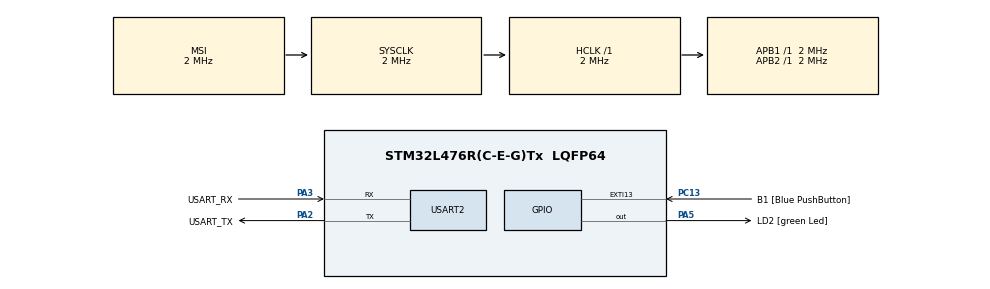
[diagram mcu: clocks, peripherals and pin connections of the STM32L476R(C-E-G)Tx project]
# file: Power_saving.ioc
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Mcu.Family=STM32L4
Mcu.Name=STM32L476R(C-E-G)Tx
Mcu.Package=LQFP64
NVIC.PriorityGroup=NVIC_PRIORITYGROUP_4
PA13\ (JTMS-SWDIO).GPIO_Label=TMS
PA13\ (JTMS-SWDIO).Mode=Serial_Wire
PA13\ (JTMS-SWDIO).Signal=SYS_JTMS-SWDIO
PA14\ (JTCK-SWCLK).GPIO_Label=TCK
PA14\ (JTCK-SWCLK).Mode=Serial_Wire
PA14\ (JTCK-SWCLK).Signal=SYS_JTCK-SWCLK
PA2.GPIO_Label=USART_TX
PA2.GPIO_Mode=GPIO_MODE_AF_PP
PA2.GPIO_PuPd=GPIO_NOPULL
PA2.GPIO_Speed=GPIO_SPEED_FREQ_VERY_HIGH
PA2.Mode=Asynchronous
PA2.Signal=USART2_TX
PA3.GPIO_Label=USART_RX
PA3.GPIO_Mode=GPIO_MODE_AF_PP
PA3.GPIO_PuPd=GPIO_NOPULL
PA3.GPIO_Speed=GPIO_SPEED_FREQ_VERY_HIGH
PA3.Mode=Asynchronous
PA3.Signal=USART2_RX
PA5.GPIO_Label=LD2 [green Led]
PA5.GPIO_ModeDefaultOutputPP=GPIO_MODE_OUTPUT_PP
PA5.GPIO_PuPd=GPIO_NOPULL
PA5.GPIO_Speed=GPIO_SPEED_FREQ_LOW
PA5.Signal=GPIO_Output
PB3\ (JTDO-TRACESWO).GPIO_Label=SWO
PB3\ (JTDO-TRACESWO).Signal=SYS_JTDO-SWO
PC13.GPIO_Label=B1 [Blue PushButton]
PC13.GPIO_ModeDefaultEXTI=GPIO_MODE_IT_FALLING
PC13.GPIO_PuPd=GPIO_NOPULL
PC13.Signal=GPXTI13
PC14-OSC32_IN\ (PC14).Mode=LSE-External-Oscillator
PC14-OSC32_IN\ (PC14).Signal=RCC_OSC32_IN
PC15-OSC32_OUT\ (PC15).Mode=LSE-External-Oscillator
PC15-OSC32_OUT\ (PC15).Signal=RCC_OSC32_OUT
PH0-OSC_IN\ (PH0).Signal=RCC_OSC_IN
PH1-OSC_OUT\ (PH1).Signal=RCC_OSC_OUT
ProjectManager.HeapSize=0x200
ProjectManager.StackSize=0x400
ProjectManager.TargetToolchain=STM32CubeIDE
RCC.ADCFreq_Value=64000000
RCC.AHBFreq_Value=2000000
RCC.APB1Freq_Value=2000000
RCC.APB1TimFreq_Value=2000000
RCC.APB2Freq_Value=2000000
RCC.APB2TimFreq_Value=2000000
RCC.CortexFreq_Value=2000000
RCC.HCLKFreq_Value=2000000
RCC.HSE_VALUE=8000000
RCC.HSI_VALUE=16000000
RCC.MSIClockRange=RCC_MSIRANGE_5
RCC.MSI_VALUE=2000000
RCC.PLLN=10
RCC.PLLSourceVirtual=RCC_PLLSOURCE_HSI
RCC.PREFETCH_ENABLE=1
RCC.SYSCLKFreq_VALUE=2000000
RCC.USBFreq_Value=64000000
RCC.VCOOutputFreq_Value=160000000
USART2.VirtualMode-Asynchronous=VM_ASYNC
board=NUCLEO-L476RG

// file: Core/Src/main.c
/* USER CODE BEGIN Header */
/**
  ******************************************************************************
  * @file           : main.c
  * @brief          : Main program body
  ******************************************************************************
  * @attention
  *
  * Copyright (c) 2024 STMicroelectronics.
  * All rights reserved.
  *
  * This software is licensed under terms that can be found in the LICENSE file
  * in the root directory of this software component.
  * If no LICENSE file comes with this software, it is provided AS-IS.
  *
  ******************************************************************************
  */
/* USER CODE END Header */
#include "main.h"
#include "usart.h"
#include "gpio.h"

void SystemClock_Config(void);

/* USER CODE BEGIN 0 */

void Disable_Peripherals(void) {
    // Désactiver les horloges des GPIO non utilisés
    __HAL_RCC_GPIOA_CLK_DISABLE();
    __HAL_RCC_GPIOB_CLK_DISABLE();
    __HAL_RCC_GPIOC_CLK_DISABLE();
    __HAL_RCC_GPIOD_CLK_DISABLE();
    __HAL_RCC_GPIOE_CLK_DISABLE();
    __HAL_RCC_GPIOF_CLK_DISABLE();
    __HAL_RCC_GPIOG_CLK_DISABLE();
    __HAL_RCC_GPIOH_CLK_DISABLE();

    // Désactiver les horloges des périphériques non utilisés
    __HAL_RCC_ADC_CLK_DISABLE();
    __HAL_RCC_DAC1_CLK_DISABLE();
    __HAL_RCC_I2C1_CLK_DISABLE();
    __HAL_RCC_I2C2_CLK_DISABLE();
    __HAL_RCC_SPI1_CLK_DISABLE();
    __HAL_RCC_SPI2_CLK_DISABLE();
    __HAL_RCC_USART1_CLK_DISABLE();
    __HAL_RCC_USART2_CLK_DISABLE();
    __HAL_RCC_USART3_CLK_DISABLE();
    __HAL_RCC_UART4_CLK_DISABLE();
    __HAL_RCC_UART5_CLK_DISABLE();

    // Désactiver d'autres périphériques non utilisés
    __HAL_RCC_RTC_DISABLE();
    __HAL_RCC_TIM1_CLK_DISABLE();
    __HAL_RCC_TIM2_CLK_DISABLE();
    __HAL_RCC_TIM3_CLK_DISABLE();
    __HAL_RCC_TIM4_CLK_DISABLE();
    __HAL_RCC_TIM5_CLK_DISABLE();
    __HAL_RCC_TIM6_CLK_DISABLE();
    __HAL_RCC_TIM7_CLK_DISABLE();
    __HAL_RCC_TIM8_CLK_DISABLE();

    // Si vous avez d'autres périphériques actifs, désactivez-les également
}

// Fonction pour configurer les GPIO inutilisés
void Configure_Unused_GPIO(void) {
    GPIO_InitTypeDef GPIO_InitStruct = {0};

    // Désactiver toutes les horloges GPIO pour configuration
    __HAL_RCC_GPIOA_CLK_ENABLE();
    __HAL_RCC_GPIOB_CLK_ENABLE();
    __HAL_RCC_GPIOC_CLK_ENABLE();
    __HAL_RCC_GPIOD_CLK_ENABLE();
    __HAL_RCC_GPIOE_CLK_ENABLE();
    __HAL_RCC_GPIOF_CLK_ENABLE();
    __HAL_RCC_GPIOG_CLK_ENABLE();
    __HAL_RCC_GPIOH_CLK_ENABLE();

    // Configuration en mode analogique pour tous les GPIO inutilisés
    GPIO_InitStruct.Mode = GPIO_MODE_ANALOG;
    GPIO_InitStruct.Pull = GPIO_NOPULL;
    GPIO_InitStruct.Speed = GPIO_SPEED_FREQ_LOW;

    // Configuration des ports GPIOA
    GPIO_InitStruct.Pin = GPIO_PIN_All;
    HAL_GPIO_Init(GPIOA, &GPIO_InitStruct);
    __HAL_RCC_GPIOA_CLK_DISABLE();

    // Répétez pour les autres ports GPIO
    GPIO_InitStruct.Pin = GPIO_PIN_All;
    HAL_GPIO_Init(GPIOB, &GPIO_InitStruct);
    __HAL_RCC_GPIOB_CLK_DISABLE();

    GPIO_InitStruct.Pin = GPIO_PIN_All;
    HAL_GPIO_Init(GPIOC, &GPIO_InitStruct);
    __HAL_RCC_GPIOC_CLK_DISABLE();

    GPIO_InitStruct.Pin = GPIO_PIN_All;
    HAL_GPIO_Init(GPIOD, &GPIO_InitStruct);
    __HAL_RCC_GPIOD_CLK_DISABLE();

    GPIO_InitStruct.Pin = GPIO_PIN_All;
    HAL_GPIO_Init(GPIOE, &GPIO_InitStruct);
    __HAL_RCC_GPIOE_CLK_DISABLE();

    GPIO_InitStruct.Pin = GPIO_PIN_All;
    HAL_GPIO_Init(GPIOF, &GPIO_InitStruct);
    __HAL_RCC_GPIOF_CLK_DISABLE();

    GPIO_InitStruct.Pin = GPIO_PIN_All;
    HAL_GPIO_Init(GPIOG, &GPIO_InitStruct);
    __HAL_RCC_GPIOG_CLK_DISABLE();

    GPIO_InitStruct.Pin = GPIO_PIN_All;
    HAL_GPIO_Init(GPIOH, &GPIO_InitStruct);
    __HAL_RCC_GPIOH_CLK_DISABLE();
}

void Enter_STOP2_Mode(void) {
    // Désactiver les périphériques non essentiels
    Disable_Peripherals();

    // Configurer les GPIO inutilisés en mode analogique pour éviter les courants de fuite
    GPIO_InitTypeDef GPIO_InitStruct = {0};
    GPIO_InitStruct.Mode = GPIO_MODE_ANALOG;
    GPIO_InitStruct.Pull = GPIO_NOPULL;

    // Configurer tous les ports GPIO (exemple pour GPIOA)
    __HAL_RCC_GPIOA_CLK_ENABLE(); // Activer l'horloge pour la configuration
    GPIO_InitStruct.Pin = GPIO_PIN_All;
    HAL_GPIO_Init(GPIOA, &GPIO_InitStruct);
    __HAL_RCC_GPIOA_CLK_DISABLE(); // Désactiver l'horloge après configuration

    // Répétez pour les autres ports GPIO utilisés

    // Configurer le mode STOP2
    HAL_PWREx_EnterSTOP2Mode(PWR_SLEEPENTRY_WFI);
}

/* USER CODE END 0 */

int main(void)
{

  /* MCU Configuration--------------------------------------------------------*/

  /* Reset of all peripherals, Initializes the Flash interface and the Systick. */
  HAL_Init();

  /* Configure the system clock */
  SystemClock_Config();

  /* Initialize all configured peripherals */
  MX_GPIO_Init();
  MX_USART2_UART_Init();
  /* USER CODE BEGIN 2 */

  //__HAL_PWR_CLEAR_FLAG(PWR_FLAG_WU);
  	  GPIO_InitTypeDef GPIO_Init = {0};
  	  GPIO_Init.Pin = GPIO_PIN_13;
  	  GPIO_Init.Mode= GPIO_MODE_EVT_FALLING;
  	  GPIO_Init.Pull = GPIO_NOPULL;
  	  HAL_GPIO_Init(GPIOC, &GPIO_Init);

  	  HAL_SuspendTick();
  	  HAL_PWR_EnterSLEEPMode(PWR_MAINREGULATOR_ON, PWR_SLEEPENTRY_WFE);

  	  HAL_ResumeTick();
  	  HAL_GPIO_DeInit(GPIOC, GPIO_PIN_13);
  /* USER CODE END 2 */

  /* Infinite loop */
  while (1)
  {

    /* USER CODE BEGIN 3 */

	  //HAL_PWR_EnterSTANDBYMode();

	  /*HAL_SuspendTick();
	  HAL_PWREx_EnterSTOP2Mode(PWR_SLEEPENTRY_WFI);
	  HAL_ResumeTick();*/
	  //HAL_SuspendTick();
	  //HAL_PWR_EnterSLEEPMode(PWR_MAINREGULATOR_ON, PWR_SLEEPENTRY_WFI);
	  //HAL_PWR_E
	  //HAL_ResumeTick();
	  //HAL_PWREx_EnableLowPowerRunMode();
  }
  /* USER CODE END 3 */
}

void SystemClock_Config(void)
{
  RCC_OscInitTypeDef RCC_OscInitStruct = {0};
  RCC_ClkInitTypeDef RCC_ClkInitStruct = {0};

  /** Configure the main internal regulator output voltage
  */
  if (HAL_PWREx_ControlVoltageScaling(PWR_REGULATOR_VOLTAGE_SCALE1) != HAL_OK)
  {
    Error_Handler();
  }

  /** Configure LSE Drive Capability
  */
  HAL_PWR_EnableBkUpAccess();
  __HAL_RCC_LSEDRIVE_CONFIG(RCC_LSEDRIVE_LOW);

  /** Initializes the RCC Oscillators according to the specified parameters
  * in the RCC_OscInitTypeDef structure.
  */
  RCC_OscInitStruct.OscillatorType = RCC_OSCILLATORTYPE_LSE|RCC_OSCILLATORTYPE_MSI;
  RCC_OscInitStruct.LSEState = RCC_LSE_ON;
  RCC_OscInitStruct.MSIState = RCC_MSI_ON;
  RCC_OscInitStruct.MSICalibrationValue = 0;
  RCC_OscInitStruct.MSIClockRange = RCC_MSIRANGE_5;
  RCC_OscInitStruct.PLL.PLLState = RCC_PLL_NONE;
  if (HAL_RCC_OscConfig(&RCC_OscInitStruct) != HAL_OK)
  {
    Error_Handler();
  }

  /** Initializes the CPU, AHB and APB buses clocks
  */
  RCC_ClkInitStruct.ClockType = RCC_CLOCKTYPE_HCLK|RCC_CLOCKTYPE_SYSCLK
                              |RCC_CLOCKTYPE_PCLK1|RCC_CLOCKTYPE_PCLK2;
  RCC_ClkInitStruct.SYSCLKSource = RCC_SYSCLKSOURCE_MSI;
  RCC_ClkInitStruct.AHBCLKDivider = RCC_SYSCLK_DIV1;
  RCC_ClkInitStruct.APB1CLKDivider = RCC_HCLK_DIV1;
  RCC_ClkInitStruct.APB2CLKDivider = RCC_HCLK_DIV1;

  if (HAL_RCC_ClockConfig(&RCC_ClkInitStruct, FLASH_LATENCY_0) != HAL_OK)
  {
    Error_Handler();
  }

  /** Enable MSI Auto calibration
  */
  HAL_RCCEx_EnableMSIPLLMode();
}

void Error_Handler(void)
{
  __disable_irq();
  while (1)
  {
  }
}
